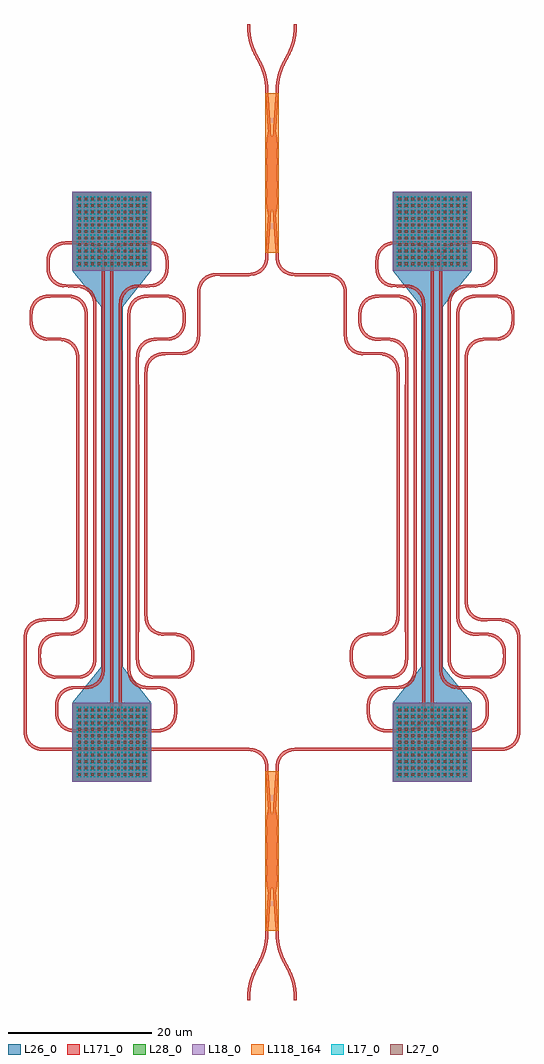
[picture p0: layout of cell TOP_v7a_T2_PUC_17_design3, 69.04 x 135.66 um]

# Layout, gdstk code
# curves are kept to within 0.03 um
import gdstk
lib = gdstk.Library(unit=1e-6, precision=1e-09)
def R(c, l, rs):  # rectangles x0, y0, x1, y1
    for r in rs: c.add(gdstk.rectangle(r[:2], r[2:], *l))
def A(c, l, x, y, w, h, nx, ny, dx, dy):  # array of equal rectangles
    R(c, l, [(x+i*dx, y+j*dy, x+i*dx+w, y+j*dy+h) for i in range(nx) for j in range(ny)])
def P(c, l, *ps):  # polygons
    for p in ps: c.add(gdstk.Polygon(p, *l))
L17_0 = (17, 0)
L18_0 = (18, 0)
L26_0 = (26, 0)
L27_0 = (27, 0)
L28_0 = (28, 0)
L118_164 = (118, 164)
L171_0 = (171, 0)

top_v7a_t2_puc_17_design = lib.new_cell('TOP_v7a_T2_PUC_17_design3')
A(top_v7a_t2_puc_17_design, L17_0, -27.16, -36.9, 0.2, 0.2, 21, 21, 0.48, 0.48)
A(top_v7a_t2_puc_17_design, L17_0, 17.36, -36.9, 0.2, 0.2, 21, 21, 0.48, 0.48)
A(top_v7a_t2_puc_17_design, L17_0, -27.16, 34.1, 0.2, 0.2, 21, 21, 0.48, 0.48)
A(top_v7a_t2_puc_17_design, L17_0, 17.36, 34.1, 0.2, 0.2, 21, 21, 0.48, 0.48)
R(top_v7a_t2_puc_17_design, L18_0, [(-27.76,-37.5,-16.76,-26.5), (16.76,-37.5,27.76,-26.5), (-27.76,33.5,-16.76,44.5), (16.76,33.5,27.76,44.5)])
R(top_v7a_t2_puc_17_design, L26_0, [(-27.76,-37.5,-16.76,-26.5), (16.76,-37.5,27.76,-26.5), (-23.76,-21.5,-20.76,28.5), (20.76,-21.5,23.76,28.5), (-27.76,33.5,-16.76,44.5), (16.76,33.5,27.76,44.5)])
P(top_v7a_t2_puc_17_design, L26_0, [(20.76,28.5),(16.76,33.5),(27.76,33.5),(23.76,28.5)],
  [(16.76,-26.5),(20.76,-21.5),(23.76,-21.5),(27.76,-26.5)],
  [(-23.76,28.5),(-27.76,33.5),(-16.76,33.5),(-20.76,28.5)],
  [(-27.76,-26.5),(-23.76,-21.5),(-20.76,-21.5),(-16.76,-26.5)])
A(top_v7a_t2_puc_17_design, L27_0, -26.94, -36.68, 0.36, 0.36, 11, 11, 0.9, 0.9)
A(top_v7a_t2_puc_17_design, L27_0, 17.58, -36.68, 0.36, 0.36, 11, 11, 0.9, 0.9)
A(top_v7a_t2_puc_17_design, L27_0, -26.94, 34.32, 0.36, 0.36, 11, 11, 0.9, 0.9)
A(top_v7a_t2_puc_17_design, L27_0, 17.58, 34.32, 0.36, 0.36, 11, 11, 0.9, 0.9)
R(top_v7a_t2_puc_17_design, L28_0, [(-27.76,-37.5,-16.76,-26.5), (16.76,-37.5,27.76,-26.5), (-27.76,33.5,-16.76,44.5), (16.76,33.5,27.76,44.5)])
R(top_v7a_t2_puc_17_design, L118_164, [(-0.91,-58.2,0.91,-36), (-0.91,36,0.91,58.2)])
R(top_v7a_t2_puc_17_design, L171_0, [(-31.315,-33.205,-3.705,-32.795), (3.705,-33.205,31.315,-32.795), (-34.52,-30,-34.11,-23), (34.11,-30,34.52,-23), (-7.205,32.795,-3.705,33.205), (3.705,32.795,7.205,33.205)])
P(top_v7a_t2_puc_17_design, L171_0, [(16.222,-30.616),(15.387,-30.565),(14.803,-30.409),(14.237,-30.096),(13.77,-29.649),(13.479,-29.195),(13.266,-28.579),(13.192,-27.968),(13.195,-26.796),(13.291,-26.132),(13.479,-25.625),(13.839,-25.088),(14.281,-24.692),(14.803,-24.411),(15.387,-24.255),(17.625,-24.179),(18.059,-24.101),(18.411,-23.971),(18.883,-23.668),(19.289,-23.216),(19.54,-22.713),(19.659,-22.145),(19.659,27.735),(19.568,28.214),(19.387,28.646),(19.148,28.993),(18.81,29.317),(18.453,29.541),(18.059,29.691),(17.625,29.769),(17.086,29.794),(14.617,29.781),(14.131,29.715),(13.727,29.581),(13.285,29.317),(12.86,28.882),(12.588,28.391),(12.448,27.832),(12.415,26.607),(12.49,25.926),(12.708,25.354),(13.074,24.869),(13.559,24.503),(14.131,24.285),(14.665,24.216),(16.653,24.163),(17.242,24.018),(17.724,23.778),(18.256,23.322),(18.662,22.687),(18.86,22.003),(18.911,21.168),(18.934,-12.222),(18.911,-20.168),(18.868,-20.948),(18.704,-21.587),(18.359,-22.196),(17.858,-22.686),(17.242,-23.018),(16.708,-23.155),(16.152,-23.202),(13.573,-23.202),(12.797,-23.112),(12.187,-22.886),(11.658,-22.515),(11.242,-22.019),(10.966,-21.435),(10.825,-20.614),(10.825,-19.386),(10.935,-18.668),(11.159,-18.12),(11.434,-17.719),(11.739,-17.414),(12.14,-17.139),(12.585,-16.946),(13.406,-16.805),(15.352,-16.757),(15.823,-16.65),(16.166,-16.497),(16.583,-16.195),(16.945,-15.767),(17.17,-15.303),(17.289,-14.735),(17.304,19.54),(17.211,20.169),(16.97,20.727),(16.583,21.195),(16.083,21.541),(15.689,21.691),(15.255,21.769),(12.647,21.802),(11.927,21.901),(11.518,22.043),(11.096,22.282),(10.803,22.522),(10.487,22.891),(10.151,23.565),(10.01,24.386),(10,30),(10.41,30),(10.424,24.412),(10.555,23.697),(10.888,23.08),(11.142,22.805),(11.438,22.575),(11.77,22.401),(12.131,22.285),(12.812,22.21),(15.302,22.182),(15.852,22.085),(16.305,21.911),(16.882,21.515),(17.326,20.974),(17.605,20.332),(17.715,19.614),(17.726,-14.168),(17.69,-14.893),(17.538,-15.537),(17.268,-16.065),(16.882,-16.515),(16.4,-16.861),(15.955,-17.054),(15.468,-17.163),(13.48,-17.216),(12.806,-17.322),(12.457,-17.459),(12.1,-17.683),(11.762,-18.007),(11.546,-18.313),(11.329,-18.831),(11.236,-19.46),(11.239,-20.588),(11.37,-21.303),(11.621,-21.806),(12.027,-22.258),(12.457,-22.541),(12.994,-22.725),(13.627,-22.79),(15.901,-22.794),(16.537,-22.757),(17.008,-22.65),(17.587,-22.345),(18.022,-21.92),(18.322,-21.391),(18.462,-20.832),(18.5,-20.049),(18.499,21.196),(18.439,21.978),(18.246,22.563),(17.9,23.063),(17.392,23.474),(17.008,23.65),(16.489,23.763),(14.591,23.805),(13.927,23.901),(13.278,24.166),(12.727,24.598),(12.319,25.167),(12.081,25.831),(12.003,26.553),(12.042,27.948),(12.151,28.435),(12.344,28.88),(12.654,29.322),(13.009,29.654),(13.42,29.911),(13.873,30.085),(14.423,30.182),(15.037,30.206),(17.504,30.195),(18.059,30.124),(18.577,29.957),(19.086,29.654),(19.544,29.196),(19.889,28.587),(20.045,28.003),(20.096,27.168),(20.096,-21.578),(20.06,-22.303),(19.908,-22.947),(19.608,-23.519),(19.212,-23.961),(18.675,-24.321),(18.222,-24.495),(17.672,-24.592),(15.461,-24.667),(14.912,-24.829),(14.47,-25.093),(14.045,-25.528),(13.756,-26.063),(13.627,-26.626),(13.595,-27.361),(13.647,-28.339),(13.74,-28.713),(13.893,-29.056),(14.132,-29.403),(14.397,-29.668),(14.703,-29.884),(15.043,-30.044),(15.461,-30.153),(15.997,-30.2),(18.663,-30.191),(19.378,-30.06),(19.995,-29.727),(20.392,-29.33),(20.674,-28.845),(20.818,-28.339),(20.869,-27.606),(20.844,29.145),(20.725,29.713),(20.474,30.216),(20.068,30.668),(19.638,30.951),(19.244,31.101),(18.81,31.179),(17.017,31.212),(16.461,31.275),(15.888,31.453),(15.379,31.756),(14.921,32.214),(14.576,32.823),(14.42,33.407),(14.369,34.242),(14.405,35.303),(14.576,35.997),(14.741,36.337),(14.989,36.691),(15.253,36.961),(15.601,37.216),(16.14,37.464),(16.793,37.592),(19.818,37.608),(20.374,37.545),(20.847,37.409),(21.279,37.188),(21.662,36.888),(21.978,36.519),(22.217,36.097),(22.359,35.688),(22.447,35.136),(22.465,3.5),(22.055,3.5),(22.055,34.459),(21.975,35.484),(21.779,36.015),(21.455,36.473),(21.027,36.835),(20.474,37.088),(19.995,37.179),(19.456,37.204),(17.182,37.2),(16.549,37.135),(16.097,36.991),(15.693,36.755),(15.348,36.438),(15.101,36.097),(14.925,35.713),(14.832,35.339),(14.785,34.017),(14.85,33.384),(14.994,32.932),(15.258,32.49),(15.655,32.093),(16.097,31.829),(16.646,31.667),(18.857,31.592),(19.407,31.495),(19.86,31.321),(20.397,30.961),(20.823,30.475),(21.129,29.845),(21.257,29.192),(21.305,19.622),(21.273,-27.968),(21.16,-28.742),(20.909,-29.337),(20.477,-29.888),(19.908,-30.296),(19.407,-30.495),(18.801,-30.597)],
  [(25.092,-30.616),(24.478,-30.592),(23.928,-30.495),(23.427,-30.296),(22.979,-29.996),(22.606,-29.606),(22.349,-29.195),(22.175,-28.742),(22.073,-28.136),(22.055,3.5),(22.465,3.5),(22.465,-27.459),(22.545,-28.484),(22.741,-29.015),(23.065,-29.473),(23.493,-29.835),(24.046,-30.088),(24.525,-30.179),(25.064,-30.204),(27.338,-30.2),(27.971,-30.135),(28.423,-29.991),(28.827,-29.755),(29.172,-29.438),(29.419,-29.097),(29.595,-28.713),(29.688,-28.339),(29.735,-27.017),(29.67,-26.384),(29.526,-25.932),(29.262,-25.49),(28.865,-25.093),(28.423,-24.829),(27.874,-24.667),(25.663,-24.592),(25.113,-24.495),(24.66,-24.321),(24.123,-23.961),(23.697,-23.475),(23.391,-22.845),(23.263,-22.192),(23.215,-12.622),(23.247,34.968),(23.36,35.742),(23.639,36.384),(24.083,36.925),(24.66,37.321),(25.167,37.509),(25.831,37.605),(28.688,37.608),(29.462,37.495),(30.104,37.216),(30.645,36.772),(31.041,36.195),(31.265,35.524),(31.335,34.689),(31.3,33.517),(31.215,33.078),(31.087,32.723),(30.848,32.301),(30.532,31.932),(30.149,31.632),(29.667,31.392),(28.856,31.223),(26.798,31.167),(26.327,31.06),(25.943,30.884),(25.499,30.541),(25.156,30.097),(24.939,29.579),(24.849,28.998),(24.861,-20.735),(24.952,-21.214),(25.133,-21.646),(25.372,-21.993),(25.71,-22.317),(26.067,-22.541),(26.461,-22.691),(26.895,-22.769),(27.434,-22.794),(29.903,-22.781),(30.389,-22.715),(30.793,-22.581),(31.235,-22.317),(31.66,-21.882),(31.932,-21.391),(32.072,-20.832),(32.105,-19.607),(32.03,-18.926),(31.812,-18.354),(31.446,-17.869),(30.961,-17.503),(30.389,-17.285),(29.855,-17.216),(27.867,-17.163),(27.278,-17.018),(26.796,-16.778),(26.264,-16.322),(25.858,-15.687),(25.66,-15.003),(25.609,-14.168),(25.586,19.222),(25.609,27.168),(25.652,27.948),(25.816,28.587),(26.161,29.196),(26.662,29.686),(27.278,30.018),(27.812,30.155),(28.368,30.202),(30.947,30.202),(31.723,30.112),(32.333,29.886),(32.862,29.515),(33.278,29.019),(33.554,28.435),(33.695,27.614),(33.695,26.386),(33.585,25.668),(33.361,25.12),(33.086,24.719),(32.781,24.414),(32.38,24.139),(31.935,23.946),(31.114,23.805),(29.168,23.757),(28.697,23.65),(28.354,23.497),(27.937,23.195),(27.575,22.767),(27.35,22.303),(27.231,21.735),(27.216,-12.54),(27.309,-13.169),(27.55,-13.727),(27.937,-14.195),(28.437,-14.541),(28.831,-14.691),(29.265,-14.769),(31.873,-14.802),(32.593,-14.901),(33.002,-15.043),(33.424,-15.282),(33.717,-15.522),(34.033,-15.891),(34.369,-16.565),(34.51,-17.386),(34.52,-23),(34.11,-23),(34.096,-17.412),(33.965,-16.697),(33.632,-16.08),(33.378,-15.805),(33.082,-15.575),(32.75,-15.401),(32.389,-15.285),(31.708,-15.21),(29.218,-15.182),(28.668,-15.085),(28.215,-14.911),(27.638,-14.515),(27.194,-13.974),(26.915,-13.332),(26.805,-12.614),(26.794,21.168),(26.83,21.893),(26.982,22.537),(27.252,23.065),(27.638,23.515),(28.12,23.861),(28.565,24.054),(29.052,24.163),(31.04,24.216),(31.714,24.322),(32.063,24.459),(32.42,24.683),(32.758,25.007),(32.974,25.313),(33.191,25.831),(33.284,26.46),(33.281,27.588),(33.15,28.303),(32.899,28.806),(32.493,29.258),(32.063,29.541),(31.526,29.725),(30.893,29.79),(28.619,29.794),(27.983,29.757),(27.512,29.65),(26.933,29.345),(26.498,28.92),(26.198,28.391),(26.058,27.832),(26.02,27.049),(26.021,-14.196),(26.081,-14.978),(26.274,-15.563),(26.62,-16.063),(27.128,-16.474),(27.512,-16.65),(28.031,-16.763),(29.929,-16.805),(30.593,-16.901),(31.242,-17.166),(31.793,-17.598),(32.201,-18.167),(32.439,-18.831),(32.517,-19.553),(32.478,-20.948),(32.369,-21.435),(32.176,-21.88),(31.866,-22.322),(31.511,-22.654),(31.1,-22.911),(30.647,-23.085),(30.097,-23.182),(29.483,-23.206),(27.016,-23.195),(26.461,-23.124),(25.943,-22.957),(25.434,-22.654),(24.976,-22.196),(24.631,-21.587),(24.475,-21.003),(24.424,-20.168),(24.424,28.578),(24.46,29.303),(24.612,29.947),(24.912,30.519),(25.308,30.961),(25.845,31.321),(26.298,31.495),(26.848,31.592),(29.059,31.667),(29.608,31.829),(30.05,32.093),(30.475,32.528),(30.764,33.063),(30.893,33.626),(30.925,34.361),(30.873,35.339),(30.78,35.713),(30.627,36.056),(30.388,36.403),(30.123,36.668),(29.817,36.884),(29.477,37.044),(29.059,37.153),(28.523,37.2),(25.857,37.191),(25.142,37.06),(24.525,36.727),(24.128,36.33),(23.846,35.845),(23.702,35.339),(23.651,34.606),(23.676,-22.145),(23.795,-22.713),(24.046,-23.216),(24.452,-23.668),(24.882,-23.951),(25.276,-24.101),(25.71,-24.179),(27.503,-24.212),(28.059,-24.275),(28.632,-24.453),(29.141,-24.756),(29.599,-25.214),(29.944,-25.823),(30.1,-26.407),(30.151,-27.242),(30.115,-28.303),(29.944,-28.997),(29.565,-29.649),(29.01,-30.158),(28.482,-30.428),(27.838,-30.58)],
  [(-18.243,-30.616),(-18.968,-30.58),(-19.458,-30.48),(-19.955,-30.271),(-20.397,-29.961),(-20.761,-29.563),(-21.032,-29.097),(-21.199,-28.579),(-21.273,-27.968),(-21.305,-18.622),(-21.273,28.968),(-21.174,29.688),(-20.936,30.29),(-20.553,30.812),(-19.955,31.271),(-19.51,31.464),(-18.968,31.58),(-17.035,31.626),(-16.549,31.685),(-16.012,31.869),(-15.547,32.183),(-15.15,32.643),(-14.897,33.196),(-14.794,33.822),(-14.785,34.803),(-14.832,35.339),(-14.925,35.713),(-15.101,36.097),(-15.317,36.403),(-15.655,36.727),(-16.012,36.951),(-16.406,37.101),(-16.84,37.179),(-19.653,37.2),(-20.189,37.153),(-20.563,37.06),(-21.066,36.809),(-21.487,36.438),(-21.801,35.973),(-21.975,35.484),(-22.055,34.459),(-22.055,3.5),(-22.465,3.5),(-22.447,35.136),(-22.359,35.688),(-22.217,36.097),(-21.978,36.519),(-21.622,36.925),(-21.234,37.216),(-20.797,37.428),(-20.263,37.565),(-19.707,37.612),(-16.793,37.592),(-16.14,37.464),(-15.556,37.188),(-14.989,36.691),(-14.741,36.337),(-14.576,35.997),(-14.405,35.303),(-14.369,34.242),(-14.42,33.407),(-14.576,32.823),(-14.921,32.214),(-15.379,31.756),(-15.888,31.453),(-16.461,31.275),(-17.017,31.212),(-18.81,31.179),(-19.244,31.101),(-19.638,30.951),(-20.068,30.668),(-20.474,30.216),(-20.725,29.713),(-20.844,29.145),(-20.869,-27.606),(-20.818,-28.339),(-20.674,-28.845),(-20.392,-29.33),(-19.995,-29.727),(-19.378,-30.06),(-18.663,-30.191),(-15.997,-30.2),(-15.461,-30.153),(-15.043,-30.044),(-14.703,-29.884),(-14.397,-29.668),(-14.132,-29.403),(-13.893,-29.056),(-13.74,-28.713),(-13.647,-28.339),(-13.595,-27.361),(-13.627,-26.626),(-13.756,-26.063),(-14.045,-25.528),(-14.47,-25.093),(-14.912,-24.829),(-15.461,-24.667),(-17.672,-24.592),(-18.222,-24.495),(-18.675,-24.321),(-19.212,-23.961),(-19.608,-23.519),(-19.908,-22.947),(-20.06,-22.303),(-20.096,-21.578),(-20.096,27.168),(-20.045,28.003),(-19.889,28.587),(-19.544,29.196),(-19.086,29.654),(-18.577,29.957),(-18.059,30.124),(-17.504,30.195),(-15.037,30.206),(-14.423,30.182),(-13.873,30.085),(-13.42,29.911),(-13.009,29.654),(-12.654,29.322),(-12.344,28.88),(-12.151,28.435),(-12.042,27.948),(-12.003,26.553),(-12.081,25.831),(-12.319,25.167),(-12.727,24.598),(-13.278,24.166),(-13.927,23.901),(-14.591,23.805),(-16.489,23.763),(-17.008,23.65),(-17.392,23.474),(-17.9,23.063),(-18.246,22.563),(-18.439,21.978),(-18.499,21.196),(-18.5,-20.049),(-18.462,-20.832),(-18.322,-21.391),(-18.022,-21.92),(-17.587,-22.345),(-17.008,-22.65),(-16.537,-22.757),(-15.901,-22.794),(-13.627,-22.79),(-12.994,-22.725),(-12.457,-22.541),(-12.027,-22.258),(-11.621,-21.806),(-11.37,-21.303),(-11.239,-20.588),(-11.236,-19.46),(-11.329,-18.831),(-11.546,-18.313),(-11.762,-18.007),(-12.1,-17.683),(-12.457,-17.459),(-12.806,-17.322),(-13.48,-17.216),(-15.468,-17.163),(-15.955,-17.054),(-16.4,-16.861),(-16.882,-16.515),(-17.268,-16.065),(-17.538,-15.537),(-17.69,-14.893),(-17.726,-14.168),(-17.715,19.614),(-17.605,20.332),(-17.326,20.974),(-16.882,21.515),(-16.305,21.911),(-15.852,22.085),(-15.302,22.182),(-12.812,22.21),(-12.131,22.285),(-11.77,22.401),(-11.438,22.575),(-11.142,22.805),(-10.888,23.08),(-10.555,23.697),(-10.424,24.412),(-10.41,30),(-10,30),(-10.01,24.386),(-10.151,23.565),(-10.487,22.891),(-10.727,22.598),(-11.096,22.282),(-11.518,22.043),(-11.927,21.901),(-12.647,21.802),(-15.255,21.769),(-15.689,21.691),(-16.083,21.541),(-16.583,21.195),(-16.97,20.727),(-17.211,20.169),(-17.304,19.54),(-17.289,-14.735),(-17.17,-15.303),(-16.945,-15.767),(-16.583,-16.195),(-16.166,-16.497),(-15.823,-16.65),(-15.352,-16.757),(-13.406,-16.805),(-12.585,-16.946),(-12.14,-17.139),(-11.739,-17.414),(-11.434,-17.719),(-11.159,-18.12),(-10.935,-18.668),(-10.825,-19.386),(-10.825,-20.614),(-10.966,-21.435),(-11.242,-22.019),(-11.658,-22.515),(-12.187,-22.886),(-12.797,-23.112),(-13.573,-23.202),(-16.152,-23.202),(-16.708,-23.155),(-17.242,-23.018),(-17.858,-22.686),(-18.359,-22.196),(-18.704,-21.587),(-18.868,-20.948),(-18.911,-20.168),(-18.934,-12.222),(-18.911,21.168),(-18.86,22.003),(-18.662,22.687),(-18.256,23.322),(-17.724,23.778),(-17.242,24.018),(-16.653,24.163),(-14.665,24.216),(-14.131,24.285),(-13.559,24.503),(-13.074,24.869),(-12.708,25.354),(-12.49,25.926),(-12.415,26.607),(-12.448,27.832),(-12.555,28.303),(-12.731,28.687),(-12.978,29.028),(-13.323,29.345),(-13.727,29.581),(-14.131,29.715),(-15.156,29.795),(-17.478,29.781),(-17.964,29.715),(-18.368,29.581),(-18.81,29.317),(-19.235,28.882),(-19.507,28.391),(-19.647,27.832),(-19.685,27.049),(-19.659,-22.145),(-19.54,-22.713),(-19.289,-23.216),(-18.883,-23.668),(-18.453,-23.951),(-18.059,-24.101),(-17.625,-24.179),(-15.832,-24.212),(-15.276,-24.275),(-14.703,-24.453),(-14.194,-24.756),(-13.736,-25.214),(-13.433,-25.723),(-13.255,-26.296),(-13.188,-26.963),(-13.203,-28.136),(-13.336,-28.845),(-13.479,-29.195),(-13.704,-29.563),(-13.988,-29.888),(-14.281,-30.128),(-14.853,-30.428),(-15.497,-30.58)],
  [(-27.113,-30.616),(-27.948,-30.565),(-28.532,-30.409),(-29.098,-30.096),(-29.565,-29.649),(-29.856,-29.195),(-30.069,-28.579),(-30.143,-27.968),(-30.143,-26.852),(-30.057,-26.187),(-29.856,-25.625),(-29.531,-25.129),(-29.098,-24.724),(-28.532,-24.411),(-28.004,-24.265),(-27.503,-24.212),(-25.71,-24.179),(-25.276,-24.101),(-24.924,-23.971),(-24.452,-23.668),(-24.046,-23.216),(-23.795,-22.713),(-23.676,-22.145),(-23.651,34.606),(-23.688,35.242),(-23.795,35.713),(-24.02,36.177),(-24.314,36.541),(-24.639,36.809),(-24.967,36.991),(-25.276,37.101),(-25.71,37.179),(-28.523,37.2),(-29.011,37.16),(-29.389,37.074),(-29.735,36.929),(-30.05,36.727),(-30.388,36.403),(-30.604,36.097),(-30.855,35.436),(-30.925,34.459),(-30.899,33.675),(-30.764,33.063),(-30.475,32.528),(-30.05,32.093),(-29.608,31.829),(-29.059,31.667),(-26.848,31.592),(-26.298,31.495),(-25.845,31.321),(-25.308,30.961),(-24.912,30.519),(-24.612,29.947),(-24.46,29.303),(-24.424,28.578),(-24.424,-20.168),(-24.475,-21.003),(-24.631,-21.587),(-24.976,-22.196),(-25.434,-22.654),(-25.943,-22.957),(-26.461,-23.124),(-27.016,-23.195),(-29.483,-23.206),(-30.097,-23.182),(-30.647,-23.085),(-31.1,-22.911),(-31.511,-22.654),(-31.866,-22.322),(-32.176,-21.88),(-32.369,-21.435),(-32.478,-20.948),(-32.517,-19.553),(-32.439,-18.831),(-32.201,-18.167),(-31.793,-17.598),(-31.242,-17.166),(-30.593,-16.901),(-29.929,-16.805),(-28.031,-16.763),(-27.512,-16.65),(-27.128,-16.474),(-26.62,-16.063),(-26.274,-15.563),(-26.081,-14.978),(-26.021,-14.196),(-26.02,27.049),(-26.058,27.832),(-26.198,28.391),(-26.498,28.92),(-26.933,29.345),(-27.512,29.65),(-27.983,29.757),(-28.619,29.794),(-30.893,29.79),(-31.526,29.725),(-32.063,29.541),(-32.493,29.258),(-32.899,28.806),(-33.15,28.303),(-33.281,27.588),(-33.284,26.46),(-33.191,25.831),(-32.974,25.313),(-32.758,25.007),(-32.42,24.683),(-32.063,24.459),(-31.714,24.322),(-31.04,24.216),(-29.052,24.163),(-28.565,24.054),(-28.12,23.861),(-27.638,23.515),(-27.252,23.065),(-26.982,22.537),(-26.83,21.893),(-26.794,21.168),(-26.805,-12.614),(-26.915,-13.332),(-27.194,-13.974),(-27.638,-14.515),(-28.215,-14.911),(-28.668,-15.085),(-29.218,-15.182),(-31.708,-15.21),(-32.389,-15.285),(-32.75,-15.401),(-33.082,-15.575),(-33.378,-15.805),(-33.632,-16.08),(-33.965,-16.697),(-34.096,-17.412),(-34.11,-23),(-34.52,-23),(-34.51,-17.386),(-34.369,-16.565),(-34.033,-15.891),(-33.793,-15.598),(-33.424,-15.282),(-33.002,-15.043),(-32.593,-14.901),(-31.873,-14.802),(-29.265,-14.769),(-28.831,-14.691),(-28.437,-14.541),(-27.937,-14.195),(-27.55,-13.727),(-27.309,-13.169),(-27.216,-12.54),(-27.231,21.735),(-27.35,22.303),(-27.575,22.767),(-27.937,23.195),(-28.354,23.497),(-28.697,23.65),(-29.168,23.757),(-31.114,23.805),(-31.935,23.946),(-32.38,24.139),(-32.781,24.414),(-33.086,24.719),(-33.361,25.12),(-33.585,25.668),(-33.695,26.386),(-33.695,27.614),(-33.554,28.435),(-33.278,29.019),(-32.862,29.515),(-32.333,29.886),(-31.723,30.112),(-30.947,30.202),(-28.368,30.202),(-27.812,30.155),(-27.278,30.018),(-26.662,29.686),(-26.161,29.196),(-25.816,28.587),(-25.652,27.948),(-25.609,27.168),(-25.586,19.222),(-25.609,-14.168),(-25.66,-15.003),(-25.858,-15.687),(-26.264,-16.322),(-26.796,-16.778),(-27.278,-17.018),(-27.867,-17.163),(-29.855,-17.216),(-30.389,-17.285),(-30.961,-17.503),(-31.446,-17.869),(-31.812,-18.354),(-32.03,-18.926),(-32.105,-19.607),(-32.072,-20.832),(-31.932,-21.391),(-31.66,-21.882),(-31.235,-22.317),(-30.793,-22.581),(-30.389,-22.715),(-29.903,-22.781),(-27.434,-22.794),(-26.895,-22.769),(-26.461,-22.691),(-26.067,-22.541),(-25.71,-22.317),(-25.372,-21.993),(-25.133,-21.646),(-24.952,-21.214),(-24.861,-20.735),(-24.849,28.998),(-24.939,29.579),(-25.156,30.097),(-25.499,30.541),(-25.943,30.884),(-26.327,31.06),(-26.798,31.167),(-28.856,31.223),(-29.667,31.392),(-30.149,31.632),(-30.532,31.932),(-30.848,32.301),(-31.087,32.723),(-31.215,33.078),(-31.3,33.517),(-31.335,34.689),(-31.265,35.524),(-31.041,36.195),(-30.608,36.812),(-30.057,37.244),(-29.408,37.509),(-28.577,37.612),(-25.831,37.605),(-25.276,37.534),(-24.758,37.367),(-24.164,36.996),(-23.727,36.519),(-23.391,35.845),(-23.263,35.192),(-23.215,25.622),(-23.24,-21.689),(-23.31,-22.524),(-23.534,-23.195),(-23.93,-23.772),(-24.471,-24.216),(-25.01,-24.464),(-25.497,-24.573),(-27.485,-24.626),(-28.019,-24.695),(-28.591,-24.913),(-29.076,-25.279),(-29.442,-25.764),(-29.67,-26.384),(-29.74,-27.361),(-29.67,-28.436),(-29.544,-28.845),(-29.344,-29.216),(-29.076,-29.541),(-28.712,-29.835),(-28.38,-30.009),(-28.019,-30.125),(-26.994,-30.205),(-24.72,-30.194),(-24.234,-30.135),(-23.869,-30.027),(-23.378,-29.755),(-23.002,-29.403),(-22.719,-28.973),(-22.545,-28.484),(-22.465,-27.459),(-22.465,3.5),(-22.055,3.5),(-22.054,-27.578),(-22.105,-28.413),(-22.261,-28.997),(-22.606,-29.606),(-23.064,-30.064),(-23.573,-30.367),(-24.091,-30.534),(-24.646,-30.605)],
  [(-0.91,-58.2),(-0.536,-53.01),(-0.731,-51.907),(-0.792,-50.855),(-0.741,-50.137),(-0.779,-48.59),(-0.728,-47.541),(-0.779,-45.61),(-0.739,-44.173),(-0.79,-43.234),(-0.731,-42.293),(-0.664,-41.795),(-0.575,-41.574),(-0.537,-41.136),(-0.91,-36),(-0.5,-36),(-0.144,-41.572),(-0.095,-41.866),(0,-41.972),(0.095,-41.866),(0.144,-41.572),(0.5,-36),(0.91,-36),(0.536,-41.19),(0.731,-42.293),(0.792,-43.345),(0.741,-44.063),(0.779,-45.61),(0.728,-46.659),(0.779,-48.59),(0.739,-50.027),(0.79,-50.966),(0.731,-51.907),(0.664,-52.405),(0.575,-52.626),(0.537,-53.064),(0.91,-58.2),(0.5,-58.2),(0.144,-52.628),(0.095,-52.334),(0,-52.228),(-0.095,-52.334),(-0.144,-52.628),(-0.5,-58.2)],
  [(-0.91,36),(-0.536,41.19),(-0.731,42.293),(-0.792,43.345),(-0.741,44.063),(-0.779,45.61),(-0.728,46.659),(-0.779,48.59),(-0.739,50.027),(-0.79,50.966),(-0.731,51.907),(-0.664,52.405),(-0.575,52.626),(-0.537,53.064),(-0.91,58.2),(-0.5,58.2),(-0.144,52.628),(-0.095,52.334),(0,52.228),(0.095,52.334),(0.144,52.628),(0.5,58.2),(0.91,58.2),(0.536,53.01),(0.731,51.907),(0.792,50.855),(0.741,50.137),(0.779,48.59),(0.728,47.541),(0.779,45.61),(0.739,44.173),(0.79,43.234),(0.731,42.293),(0.664,41.795),(0.575,41.574),(0.537,41.136),(0.91,36),(0.5,36),(0.144,41.572),(0.095,41.866),(0,41.972),(-0.095,41.866),(-0.144,41.572),(-0.5,36)],
  [(3.05,-67.83),(2.96,-66.382),(2.681,-65.093),(2.261,-64.014),(1.212,-61.924),(0.801,-60.752),(0.581,-59.602),(0.5,-58.2),(0.91,-58.2),(1,-59.648),(1.279,-60.937),(1.699,-62.016),(2.748,-64.106),(3.159,-65.278),(3.379,-66.428),(3.46,-67.83)],
  [(-3.46,-67.83),(-3.355,-66.25),(-3.061,-64.939),(-2.675,-63.943),(-1.648,-61.905),(-1.279,-60.937),(-1,-59.648),(-0.91,-58.2),(-0.5,-58.2),(-0.605,-59.78),(-0.899,-61.091),(-1.285,-62.087),(-2.312,-64.125),(-2.681,-65.093),(-2.96,-66.382),(-3.05,-67.83)],
  [(0.5,58.2),(0.605,59.78),(0.899,61.091),(1.285,62.087),(2.312,64.125),(2.681,65.093),(2.96,66.382),(3.05,67.83),(3.46,67.83),(3.355,66.25),(3.061,64.939),(2.675,63.943),(1.648,61.905),(1.279,60.937),(1,59.648),(0.91,58.2)],
  [(-0.91,58.2),(-1,59.648),(-1.279,60.937),(-1.699,62.016),(-2.748,64.106),(-3.159,65.278),(-3.379,66.428),(-3.46,67.83),(-3.05,67.83),(-2.96,66.382),(-2.681,65.093),(-2.261,64.014),(-1.212,61.924),(-0.801,60.752),(-0.581,59.602),(-0.5,58.2)],
  [(0.5,-36),(0.523,-35.218),(0.635,-34.617),(0.871,-34.073),(1.227,-33.598),(1.686,-33.222),(2.27,-32.946),(2.923,-32.818),(3.705,-32.795),(3.705,-33.205),(2.97,-33.231),(2.446,-33.336),(1.978,-33.55),(1.574,-33.869),(1.255,-34.273),(1.041,-34.741),(0.936,-35.265),(0.91,-36)],
  [(31.427,-33.206),(31.315,-33.205),(31.315,-32.795),(32.05,-32.769),(32.574,-32.664),(33.042,-32.45),(33.446,-32.131),(33.765,-31.727),(33.979,-31.259),(34.084,-30.735),(34.11,-30),(34.52,-30),(34.497,-30.782),(34.385,-31.383),(34.149,-31.927),(33.793,-32.402),(33.334,-32.778),(32.75,-33.054),(32.208,-33.17)],
  [(-0.91,-36),(-0.936,-35.265),(-1.014,-34.831),(-1.186,-34.395),(-1.447,-34.007),(-1.899,-33.601),(-2.402,-33.35),(-2.97,-33.231),(-3.705,-33.205),(-3.705,-32.795),(-2.923,-32.818),(-2.27,-32.946),(-1.64,-33.252),(-1.154,-33.678),(-0.899,-34.026),(-0.706,-34.413),(-0.523,-35.218),(-0.5,-36)],
  [(-31.483,-33.206),(-32.208,-33.17),(-32.75,-33.054),(-33.334,-32.778),(-33.793,-32.402),(-34.149,-31.927),(-34.385,-31.383),(-34.497,-30.782),(-34.52,-30),(-34.11,-30),(-34.084,-30.735),(-33.979,-31.259),(-33.765,-31.727),(-33.446,-32.131),(-33.042,-32.45),(-32.574,-32.664),(-32.05,-32.769),(-31.315,-32.795),(-31.315,-33.205)],
  [(3.537,32.794),(2.812,32.83),(2.27,32.946),(1.686,33.222),(1.227,33.598),(0.871,34.073),(0.635,34.617),(0.523,35.218),(0.5,36),(0.91,36),(0.936,35.265),(1.041,34.741),(1.255,34.273),(1.574,33.869),(1.978,33.55),(2.446,33.336),(2.97,33.231),(3.705,33.205),(3.705,32.795)],
  [(10,30),(9.974,30.735),(9.896,31.169),(9.724,31.605),(9.463,31.993),(9.011,32.399),(8.508,32.65),(7.94,32.769),(7.205,32.795),(7.205,33.205),(7.987,33.182),(8.64,33.054),(9.27,32.748),(9.756,32.322),(10.011,31.974),(10.204,31.587),(10.387,30.782),(10.41,30)],
  [(-3.593,32.794),(-3.705,32.795),(-3.705,33.205),(-2.97,33.231),(-2.446,33.336),(-1.978,33.55),(-1.574,33.869),(-1.255,34.273),(-1.041,34.741),(-0.936,35.265),(-0.91,36),(-0.5,36),(-0.523,35.218),(-0.635,34.617),(-0.871,34.073),(-1.227,33.598),(-1.686,33.222),(-2.27,32.946),(-2.812,32.83)],
  [(-10.41,30),(-10.387,30.782),(-10.275,31.383),(-10.039,31.927),(-9.683,32.402),(-9.224,32.778),(-8.64,33.054),(-7.987,33.182),(-7.205,33.205),(-7.205,32.795),(-7.94,32.769),(-8.464,32.664),(-8.932,32.45),(-9.336,32.131),(-9.655,31.727),(-9.869,31.259),(-9.974,30.735),(-10,30)])

lib.write_gds('TOP_v7a_T2_PUC_17_design3.gds')
